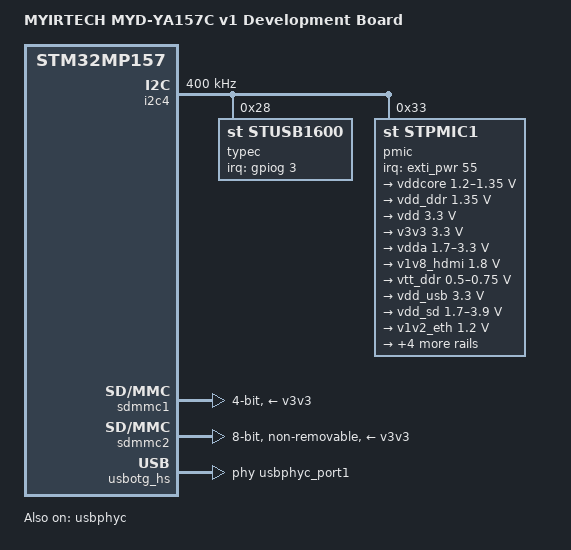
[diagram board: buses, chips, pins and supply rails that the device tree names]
// SPDX-License-Identifier: (GPL-2.0+ OR BSD-3-Clause)
/*
 * Copyright (C) STMicroelectronics 2018 - All Rights Reserved
 * Author: Alexandre Torgue <alexandre.torgue@st.com>.
 */

/dts-v1/;

#include "stm32mp157.dtsi"
#include "stm32mp15xa.dtsi"
#include "stm32mp15-ya157c-pinctrl.dtsi"
#include "stm32mp15xxac-pinctrl.dtsi"
#include "stm32mp15xx-ya157c.dtsi"

/ {
	model = "MYIRTECH MYD-YA157C v1 Development Board";
	compatible = "st,stm32mp157c-ya157c-v1", "st,stm32mp157";
	aliases {
		ethernet0 = &ethernet0;
		serial0 = &uart4;
		serial1 = &usart3;
		//serial2 = &uart7;
	};

	chosen {
		stdout-path = "serial0:115200n8";
	};

	reserved-memory {
		gpu_reserved: gpu@da000000 {
			reg = <0xda000000 0x4000000>;
			no-map;
		};

		optee_memory: optee@0xde000000 {
			reg = <0xde000000 0x02000000>;
			no-map;
		};
	};

	usb_phy_tuning: usb-phy-tuning {
		st,hs-dc-level = <2>;
		st,fs-rftime-tuning;
		st,hs-rftime-reduction;
		st,hs-current-trim = <15>;
		st,hs-impedance-trim = <1>;
		st,squelch-level = <3>;
		st,hs-rx-offset = <2>;
		st,no-lsfs-sc;
	};
	
};



&i2c4 {
	pinctrl-names = "default", "sleep";
	pinctrl-0 = <&i2c4_pins_a>;
	pinctrl-1 = <&i2c4_pins_sleep_a>;
	i2c-scl-rising-time-ns = <185>;
	i2c-scl-falling-time-ns = <20>;
	clock-frequency = <400000>;
	status = "okay";
	/* spare dmas for other usage */
	/delete-property/dmas;
	/delete-property/dma-names;

	typec: stusb1600@28 {
         	compatible = "st,stusb1600";
         	reg = <0x28>;
         	interrupts = <3 IRQ_TYPE_EDGE_FALLING>;
         	interrupt-parent = <&gpiog>;
         	pinctrl-names = "default";
         	pinctrl-0 = <&stusb1600_pins_a>;
         	status = "okay";
 
         	typec_con: connector {
             		compatible = "usb-c-connector";
             		label = "USB-C";
             		power-role = "dual";
             		power-opmode = "default";
         	};
     };

/*
	stusb1600@28 {
		compatible = "st,stusb1600";
		reg = <0x28>;
		interrupts = <3 IRQ_TYPE_EDGE_FALLING>;
		interrupt-parent = <&gpiog>;
		pinctrl-names = "default";
		pinctrl-0 = <&stusb1600_pins_a>;
		status = "okay";
		vdd-supply = <&vin>;

		connector {
			compatible = "usb-c-connector";
			label = "USB-C";
			power-role = "dual";
			power-opmode = "default";

			port {
				con_usbotg_hs_ep: endpoint {
					remote-endpoint = <&usbotg_hs_ep>;
				};
			};
		};
	};
*/
	pmic: stpmic@33 {
		compatible = "st,stpmic1";
		reg = <0x33>;
		interrupts-extended = <&exti_pwr 55 IRQ_TYPE_EDGE_FALLING>;
		interrupt-controller;
		#interrupt-cells = <2>;
		status = "okay";

		st,main-control-register = <0x04>;
		st,vin-control-register = <0xc0>;
		st,usb-control-register = <0x20>;

		regulators {
			compatible = "st,stpmic1-regulators";

			ldo1-supply = <&v3v3>;
			ldo3-supply = <&vdd_ddr>;
			ldo6-supply = <&v3v3>;
			pwr_sw1-supply = <&bst_out>;
			pwr_sw2-supply = <&bst_out>;

			vddcore: buck1 {
				regulator-name = "vddcore";
				regulator-min-microvolt = <1200000>;
				regulator-max-microvolt = <1350000>;
				regulator-always-on;
				regulator-initial-mode = <0>;
				regulator-over-current-protection;
			};

			vdd_ddr: buck2 {
				regulator-name = "vdd_ddr";
				regulator-min-microvolt = <1350000>;
				regulator-max-microvolt = <1350000>;
				regulator-always-on;
				regulator-initial-mode = <0>;
				regulator-over-current-protection;
			};

			vdd: buck3 {
				regulator-name = "vdd";
				regulator-min-microvolt = <3300000>;
				regulator-max-microvolt = <3300000>;
				regulator-always-on;
				st,mask-reset;
				regulator-initial-mode = <0>;
				regulator-over-current-protection;
			};

			v3v3: buck4 {
				regulator-name = "v3v3";
				regulator-min-microvolt = <3300000>;
				regulator-max-microvolt = <3300000>;
				regulator-always-on;
				regulator-over-current-protection;
				regulator-initial-mode = <0>;
			};

			vdda: ldo1 {
				regulator-name = "v1v8_audio";
				regulator-min-microvolt = <1700000>;
				regulator-max-microvolt = <3300000>;
				regulator-always-on;
				interrupts = <IT_CURLIM_LDO1 0>;

			};

			v1v8_hdmi: ldo2 {
				regulator-name = "v1v8_hdmi";
				regulator-min-microvolt = <1800000>;
				regulator-max-microvolt = <1800000>;
				regulator-always-on;
				interrupts = <IT_CURLIM_LDO2 0>;

			};

			vtt_ddr: ldo3 {
				regulator-name = "vtt_ddr";
				regulator-min-microvolt = <500000>;
				regulator-max-microvolt = <750000>;
				regulator-always-on;
				regulator-over-current-protection;
			};

			vdd_usb: ldo4 {
				regulator-name = "vdd_usb";
				regulator-min-microvolt = <3300000>;
				regulator-max-microvolt = <3300000>;
				interrupts = <IT_CURLIM_LDO4 0>;
			};

			vdd_sd: ldo5 {
				regulator-name = "vdd_sd";
				regulator-min-microvolt = <1700000>;
				regulator-max-microvolt = <3900000>;
				interrupts = <IT_CURLIM_LDO5 0>;
				regulator-boot-on;
			};

			v1v2_eth: ldo6 {
				regulator-name = "v1v2_eth";
				regulator-min-microvolt = <1200000>;
				regulator-max-microvolt = <1200000>;
				regulator-always-on;
				interrupts = <IT_CURLIM_LDO6 0>;

			};

			vref_ddr: vref_ddr {
				regulator-name = "vref_ddr";
				regulator-always-on;
				regulator-over-current-protection;
			};

			 bst_out: boost {
				regulator-name = "bst_out";
				interrupts = <IT_OCP_BOOST 0>;
			 };

			vbus_otg: pwr_sw1 {
				regulator-name = "vbus_otg";
				interrupts = <IT_OCP_OTG 0>;
				regulator-active-discharge;
			 };

			 vbus_sw: pwr_sw2 {
				regulator-name = "vbus_sw";
				interrupts = <IT_OCP_SWOUT 0>;
				regulator-active-discharge;
			 };
		};

		onkey {
			compatible = "st,stpmic1-onkey";
			interrupts = <IT_PONKEY_F 0>, <IT_PONKEY_R 1>;
			interrupt-names = "onkey-falling", "onkey-rising";
			status = "okay";
		};

		watchdog {
			compatible = "st,stpmic1-wdt";
			status = "okay";
		};

	};
};

&pwr_regulators {
	vdd-supply = <&vdd>;
	vdd_3v3_usbfs-supply = <&vdd_usb>;
};

&sdmmc1 {
        pinctrl-names = "default", "opendrain", "sleep";
        pinctrl-0 = <&sdmmc1_b4_pins_a>;
        pinctrl-1 = <&sdmmc1_b4_od_pins_a>;
        pinctrl-2 = <&sdmmc1_b4_sleep_pins_a>;
        broken-cd;
        st,neg-edge;
        bus-width = <4>;
        vmmc-supply = <&v3v3>;
        status = "okay";
};


&sdmmc2 {
        pinctrl-names = "default", "opendrain", "sleep";
        pinctrl-0 = <&sdmmc2_b4_pins_a &sdmmc2_d47_pins_a>;
        pinctrl-1 = <&sdmmc2_b4_od_pins_a &sdmmc2_d47_pins_a>;
        pinctrl-2 = <&sdmmc2_b4_sleep_pins_a &sdmmc2_d47_sleep_pins_a>;
        non-removable;
        no-sd;
        no-sdio;
        st,neg-edge;
        bus-width = <8>;
        vmmc-supply = <&v3v3>;
        vqmmc-supply = <&v3v3>;
        mmc-ddr-3_3v;
        status = "okay";
};


/*
&usbotg_hs {
	 
	phys = <&usbphyc_port1 0>;
	phy-names = "usb2-phy";
	usb-role-switch;
	status = "okay";

	port {
		usbotg_hs_ep: endpoint {
			remote-endpoint = <&con_usbotg_hs_ep>;
		};
	};
};
*/

&usbotg_hs {
	//dr_mode = "peripheral";
	//force-b-session-valid;
    	extcon = <&typec>;
	phys = <&usbphyc_port1 0>;
	phy-names = "usb2-phy";
	status = "okay";
};

&usbphyc {
	status = "okay";
};


&usbphyc_port1 {
	phy-supply = <&vdd_usb>;
	st,phy-tuning = <&usb_phy_tuning>;
};

